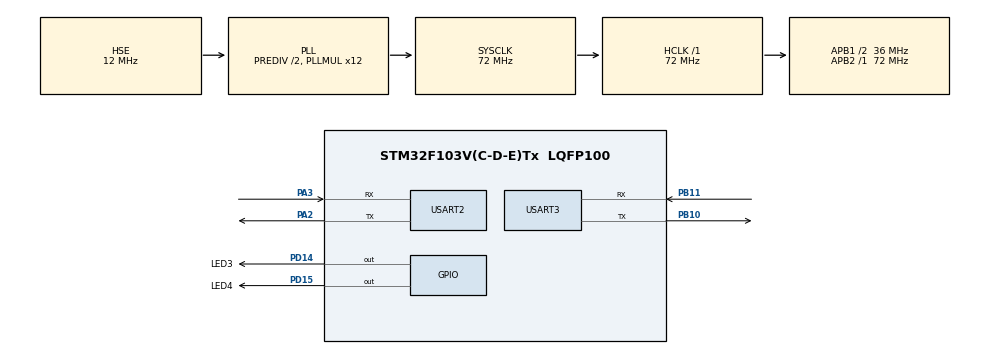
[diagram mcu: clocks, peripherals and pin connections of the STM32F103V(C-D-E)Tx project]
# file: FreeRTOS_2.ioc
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Mcu.Family=STM32F1
Mcu.Name=STM32F103V(C-D-E)Tx
Mcu.Package=LQFP100
NVIC.PriorityGroup=NVIC_PRIORITYGROUP_4
NVIC.USART2_IRQn=true\:6\:0\:true\:false\:true\:true\:true
NVIC.USART3_IRQn=true\:7\:0\:true\:false\:true\:true\:true
OSC_IN.Mode=HSE-External-Oscillator
OSC_IN.Signal=RCC_OSC_IN
OSC_OUT.Mode=HSE-External-Oscillator
OSC_OUT.Signal=RCC_OSC_OUT
PA13.Mode=JTAG_4_pins
PA13.Signal=SYS_JTMS-SWDIO
PA14.Mode=JTAG_4_pins
PA14.Signal=SYS_JTCK-SWCLK
PA15.Mode=JTAG_4_pins
PA15.Signal=SYS_JTDI
PA2.Mode=Asynchronous
PA2.Signal=USART2_TX
PA3.Mode=Asynchronous
PA3.Signal=USART2_RX
PB10.Mode=Asynchronous
PB10.Signal=USART3_TX
PB11.Mode=Asynchronous
PB11.Signal=USART3_RX
PB3.Mode=JTAG_4_pins
PB3.Signal=SYS_JTDO-TRACESWO
PD14.GPIO_Label=LED3
PD14.Signal=GPIO_Output
PD15.GPIO_Label=LED4
PD15.Signal=GPIO_Output
ProjectManager.HeapSize=0x200
ProjectManager.StackSize=0x400
ProjectManager.TargetToolchain=MDK-ARM V5
RCC.AHBFreq_Value=72000000
RCC.APB1CLKDivider=RCC_HCLK_DIV2
RCC.APB1Freq_Value=36000000
RCC.APB1TimFreq_Value=72000000
RCC.APB2Freq_Value=72000000
RCC.APB2TimFreq_Value=72000000
RCC.HCLKFreq_Value=72000000
RCC.HSEDivPLL=RCC_HSE_PREDIV_DIV2
RCC.HSE_VALUE=12000000
RCC.PLLMUL=RCC_PLL_MUL12
RCC.PLLSourceVirtual=RCC_PLLSOURCE_HSE
RCC.SYSCLKFreq_VALUE=72000000
RCC.SYSCLKSource=RCC_SYSCLKSOURCE_PLLCLK
RCC.USBFreq_Value=72000000
USART2.VirtualMode=VM_ASYNC
USART3.VirtualMode=VM_ASYNC
board=custom

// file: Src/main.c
/* USER CODE BEGIN Header */
/**
  ******************************************************************************
  * @file           : main.c
  * @brief          : Main program body
  ******************************************************************************
  * @attention
  *
  * <h2><center>&copy; Copyright (c) 2020 STMicroelectronics.
  * All rights reserved.</center></h2>
  *
  * This software component is licensed by ST under BSD 3-Clause license,
  * the "License"; You may not use this file except in compliance with the
  * License. You may obtain a copy of the License at:
  *                        opensource.org/licenses/BSD-3-Clause
  *
  ******************************************************************************
  */
/* USER CODE END Header */

#include "main.h"
#include "usart.h"
#include "gpio.h"

/* USER CODE BEGIN Includes */
 #include <stdio.h>

#include "FreeRTOS.h"
#include "task.h"
#include "queue.h"
#include "croutine.h"
/* USER CODE END Includes */

/* USER CODE BEGIN PM */

	xQueueHandle xQueue;
	TaskHandle_t WillBeDelite;
/* USER CODE END PM */

/* USER CODE BEGIN PV */

int fputc(int ch,FILE *f)
{
	 while(!(USART2->SR & (1<<7)));
	 USART2->DR = ch;
	 return ch;
}

void my_Task_LED3(void * pvParameters){
	long lValueToSend = (long)pvParameters;
	portBASE_TYPE xStatus;
	while(1){
		HAL_GPIO_TogglePin(GPIOD, LED3_Pin);
		printf("I am alive 100 \r\n");
//		xStatus = xQueueSendToBack( xQueue, &lValueToSend, 0 );
//		if( xStatus != pdPASS )
		{
				/* 发送操作由于队列满而无法完成 – 这必然存在错误，因为本例中的队列不可能满。 */
//				printf( "ERROR   Could not send to the queue.\r\n" );
		}
		vTaskDelay(5000);
	}
}

void my_Task_LED4(void * pvParameters){
	long lValueToSend = (long)pvParameters;
	portBASE_TYPE xStatus;
	while(1){
		HAL_GPIO_TogglePin(GPIOD, LED4_Pin);
		printf("I am alive 200 \r\n");
		xStatus = xQueueSendToBack( xQueue, &lValueToSend, 0 );
		if( xStatus != pdPASS )
		{
				/* 发送操作由于队列满而无法完成 – 这必然存在错误，因为本例中的队列不可能满。 */
				printf( "ERROR   Could not send to the queue.\r\n" );
		}
		vTaskDelay(1000);
		vTaskDelete( NULL );
	}
}

void my_Task_uartReceive(void * pvParameters){
	long lValueToSend = (long)pvParameters;
	portBASE_TYPE xStatus;
	while(1){

		HAL_GPIO_TogglePin(GPIOD, LED4_Pin);
		xStatus = xQueueSendToBack( xQueue, &lValueToSend, 0 );
		if( xStatus != pdPASS )
		{
				/* 发送操作由于队列满而无法完成 – 这必然存在错误，因为本例中的队列不可能满。 */
				printf( "ERROR  uartReceive Could not send to the queue.\r\n" );
		}
	}
}

static void vReceiverTask( void *pvParameters )
{
	/* 声明变量，用于保存从队列中接收到的数据。 */
	long lReceivedValue;
	portBASE_TYPE xStatus;
	const portTickType xTicksToWait = 100 / portTICK_RATE_MS;
	/* 本任务依然处于死循环中。 */
	for( ;; )
	{
		/* 此调用会发现队列一直为空，因为本任务将立即删除刚写入队列的数据单元。 */
//		if( uxQueueMessagesWaiting( xQueue ) != 0 )
		{
//			printf( "Queue should have been empty!\r\n" );
		}
		/* 从队列中接收数据
		第一个参数是被读取的队列。队列在调度器启动之前就被创建了，所以先于此任务执行。
		第二个参数是保存接收到的数据的缓冲区地址，本例中即变量lReceivedValue的地址。此变量类型与
		队列数据单元类型相同，所以有足够的大小来存储接收到的数据。
		第三个参数是阻塞超时时间 – 当队列空时，任务转入阻塞状态以等待队列数据有效。本例中常量
		portTICK_RATE_MS用来将100毫秒绝对时间转换为以系统心跳为单位的时间值。
		*/
		xStatus = xQueueReceive( xQueue, &lReceivedValue, portMAX_DELAY );
			if( xStatus == pdPASS )
			{
				/* 成功读出数据，打印出来。 */
				printf( "Received = %ld \r\n " ,lReceivedValue);
			}
			else
			{
				/* 等待100ms也没有收到任何数据。
				必然存在错误，因为发送任务在不停地往队列中写入数据 */
				printf( "ERROR Could not receive from the queue.\r\n" );
			}
	}
}

/* USER CODE END PV */

void SystemClock_Config(void);

/* USER CODE BEGIN 0 */

extern uint8_t receiveDate;
/* USER CODE END 0 */

int main(void)
{

  /* MCU Configuration--------------------------------------------------------*/

  /* Reset of all peripherals, Initializes the Flash interface and the Systick. */
  HAL_Init();

  /* Configure the system clock */
  SystemClock_Config();

  /* Initialize all configured peripherals */
  MX_GPIO_Init();
  MX_USART3_UART_Init();
  MX_USART2_UART_Init();
  /* USER CODE BEGIN 2 */
	HAL_UART_Receive_IT(&huart2,&receiveDate,1);
	HAL_UART_Receive_IT(&huart3,&receiveDate,1);
	/* 创建的队列用于保存最多5个值，每个数据单元都有足够的空间来存储一个long型变量 */
	xQueue = xQueueCreate( 5, sizeof( long ) );
	if( xQueue != NULL )
	{
			/* 创建两个写队列任务实例，任务入口参数用于传递发送到队列的值。所以一个实例不停地往队列发送
			100，而另一个任务实例不停地往队列发送200。两个任务的优先级都设为1。 */
			xTaskCreate( my_Task_LED3, "Sender1", 1000, ( void * ) 100, 1, &WillBeDelite );
//			xTaskCreate( my_Task_LED4, "Sender1", 1000, ( void * ) 200, 1, NULL );
			/* 创建一个读队列任务实例。其优先级设为2，高于写任务优先级 */
			xTaskCreate( vReceiverTask, "Receiver", 1000, NULL, 2, NULL );
			/* 启动调度器，任务开始执行 */
			vTaskStartScheduler();
	}
	else
	{
			/* 队列创建失败*/
			while(1);
	}
  /* USER CODE END 2 */

  /* Infinite loop */
  /* USER CODE BEGIN WHILE */
  while (1)
  {
//		HAL_GPIO_TogglePin(GPIOD, LED3_Pin|LED4_Pin);
//		HAL_Delay(1000);
    /* USER CODE END WHILE */

  }
}

void SystemClock_Config(void)
{
  RCC_OscInitTypeDef RCC_OscInitStruct = {0};
  RCC_ClkInitTypeDef RCC_ClkInitStruct = {0};

  /** Initializes the CPU, AHB and APB busses clocks
  */
  RCC_OscInitStruct.OscillatorType = RCC_OSCILLATORTYPE_HSE;
  RCC_OscInitStruct.HSEState = RCC_HSE_ON;
  RCC_OscInitStruct.HSEPredivValue = RCC_HSE_PREDIV_DIV2;
  RCC_OscInitStruct.HSIState = RCC_HSI_ON;
  RCC_OscInitStruct.PLL.PLLState = RCC_PLL_ON;
  RCC_OscInitStruct.PLL.PLLSource = RCC_PLLSOURCE_HSE;
  RCC_OscInitStruct.PLL.PLLMUL = RCC_PLL_MUL12;
  if (HAL_RCC_OscConfig(&RCC_OscInitStruct) != HAL_OK)
  {
    Error_Handler();
  }
  /** Initializes the CPU, AHB and APB busses clocks
  */
  RCC_ClkInitStruct.ClockType = RCC_CLOCKTYPE_HCLK|RCC_CLOCKTYPE_SYSCLK
                              |RCC_CLOCKTYPE_PCLK1|RCC_CLOCKTYPE_PCLK2;
  RCC_ClkInitStruct.SYSCLKSource = RCC_SYSCLKSOURCE_PLLCLK;
  RCC_ClkInitStruct.AHBCLKDivider = RCC_SYSCLK_DIV1;
  RCC_ClkInitStruct.APB1CLKDivider = RCC_HCLK_DIV2;
  RCC_ClkInitStruct.APB2CLKDivider = RCC_HCLK_DIV1;

  if (HAL_RCC_ClockConfig(&RCC_ClkInitStruct, FLASH_LATENCY_2) != HAL_OK)
  {
    Error_Handler();
  }
}

void Error_Handler(void)
{
}

/************************ (C) COPYRIGHT STMicroelectronics *****END OF FILE****/
